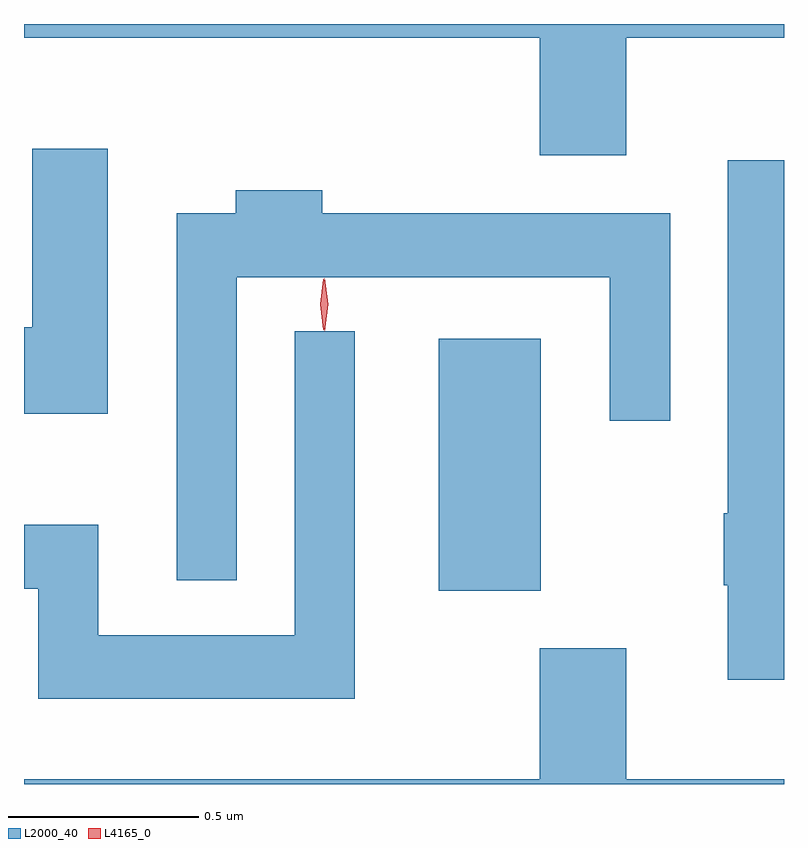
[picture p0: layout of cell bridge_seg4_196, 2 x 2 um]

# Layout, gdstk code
import gdstk
lib = gdstk.Library(unit=1e-6, precision=1e-09)
def R(c, l, rs):  # rectangles x0, y0, x1, y1
    for r in rs: c.add(gdstk.rectangle(r[:2], r[2:], *l))
def P(c, l, *ps):  # polygons
    for p in ps: c.add(gdstk.Polygon(p, *l))
L2000_40 = (2000, 40)
L4165_0 = (4165, 0)

bridge_seg4_196 = lib.new_cell('bridge_seg4_196')
R(bridge_seg4_196, L2000_40, [(989.666,1315.481,989.934,1316.144)])
P(bridge_seg4_196, L2000_40, [(990.159,1316.936),(990.574,1316.936),(990.574,1316.972),(988.574,1316.972),(988.574,1316.936),(989.931,1316.936),(989.931,1316.626),(990.159,1316.626)],
  [(988.794,1316.644),(988.596,1316.644),(988.596,1316.174),(988.574,1316.174),(988.574,1315.946),(988.794,1315.946)],
  [(990.574,1316.613),(990.426,1316.613),(990.426,1315.685),(990.416,1315.685),(990.416,1315.495),(990.426,1315.495),(990.426,1315.246),(990.574,1315.246)],
  [(989.134,1316.306),(990.116,1316.306),(990.116,1315.928),(990.274,1315.928),(990.274,1316.474),(989.359,1316.474),(989.359,1316.534),(989.131,1316.534),(989.131,1316.474),(988.976,1316.474),(988.976,1315.508),(989.134,1315.508)],
  [(989.444,1316.163),(989.286,1316.163),(989.286,1315.364),(988.769,1315.364),(988.769,1315.654),(988.574,1315.654),(988.574,1315.486),(988.611,1315.486),(988.611,1315.196),(989.444,1315.196)],
  [(990.574,1314.984),(990.159,1314.984),(990.159,1315.329),(989.931,1315.329),(989.931,1314.984),(988.574,1314.984),(988.574,1314.972),(990.574,1314.972)])
P(bridge_seg4_196, L4165_0, [(989.362,1316.167),(989.353,1316.234),(989.362,1316.3),(989.363,1316.301),(989.363,1316.3),(989.373,1316.234),(989.363,1316.167),(989.363,1316.167)],
  [(989.365,1316.164),(989.365,1316.164),(989.355,1316.234),(989.365,1316.303),(989.365,1316.303),(989.366,1316.303),(989.375,1316.234),(989.366,1316.164)])

lib.write_gds('bridge_seg4_196.gds')
